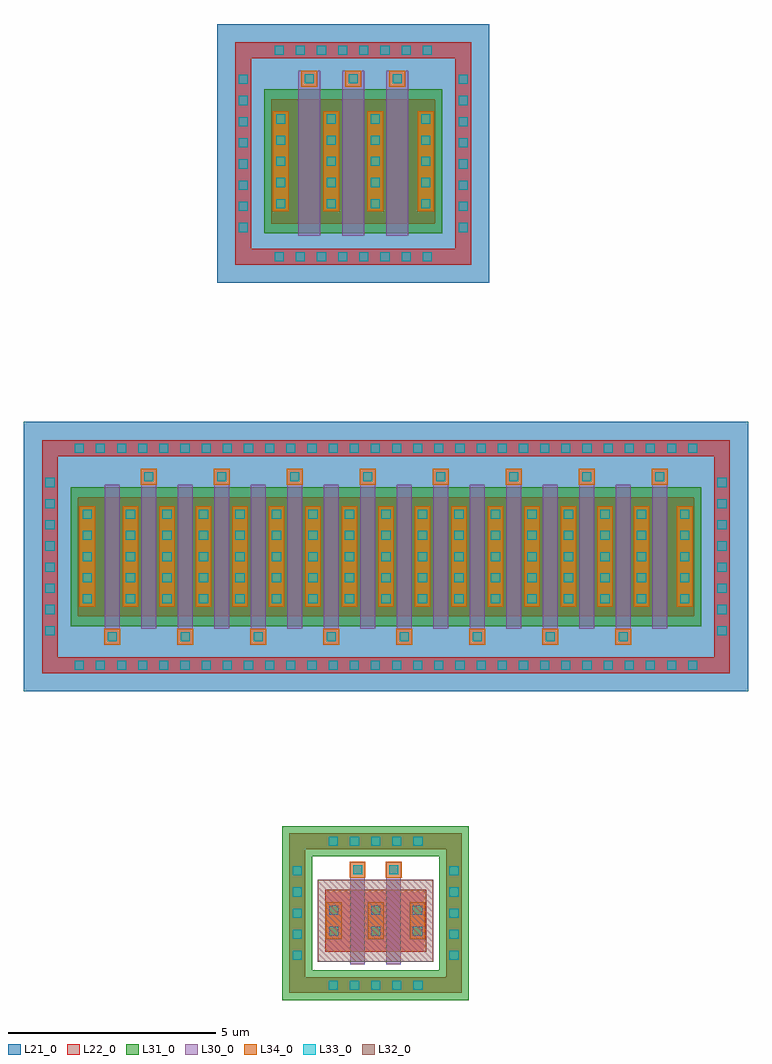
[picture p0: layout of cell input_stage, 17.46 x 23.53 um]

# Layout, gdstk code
import gdstk
lib = gdstk.Library(unit=1e-6, precision=5e-09)
def R(c, l, rs):  # rectangles x0, y0, x1, y1
    for r in rs: c.add(gdstk.rectangle(r[:2], r[2:], *l))
def A(c, l, x, y, w, h, nx, ny, dx, dy):  # array of equal rectangles
    R(c, l, [(x+i*dx, y+j*dy, x+i*dx+w, y+j*dy+h) for i in range(nx) for j in range(ny)])
def P(c, l, *ps):  # polygons
    for p in ps: c.add(gdstk.Polygon(p, *l))
L21_0 = (21, 0)
L22_0 = (22, 0)
L30_0 = (30, 0)
L31_0 = (31, 0)
L32_0 = (32, 0)
L33_0 = (33, 0)
L34_0 = (34, 0)

nfet = lib.new_cell('nfet')
R(nfet, L22_0, [(-0.42,0,0,1.5), (0,0,1.6,1.5), (1.6,0,2.02,1.5)])
P(nfet, L22_0, [(-1.28,-0.99),(-1.28,2.48),(-0.9,2.48),(-0.9,-0.61),(2.5,-0.61),(2.5,2.48),(-1.28,2.48),(-1.28,2.86),(2.88,2.86),(2.88,-0.99)])
R(nfet, L30_0, [(0.19,-0.3,0.54,1.8), (1.06,-0.3,1.41,1.8), (0.185,1.8,0.545,2.16), (1.055,1.8,1.415,2.16)])
P(nfet, L31_0, [(-1.45,-1.16),(-1.45,2.31),(-0.73,2.31),(-0.73,-0.44),(2.33,-0.44),(2.33,2.31),(-1.45,2.31),(-1.45,3.03),(3.05,3.03),(3.05,-1.16)])
R(nfet, L32_0, [(-0.59,-0.24,2.19,1.74)])
A(nfet, L33_0, -0.33, -0.91, 0.22, 0.22, 5, 2, 0.51, 3.47)
A(nfet, L33_0, -1.2, -0.195, 0.22, 0.22, 1, 5, 0, 0.51)
A(nfet, L33_0, 2.58, -0.195, 0.22, 0.22, 1, 5, 0, 0.51)
A(nfet, L33_0, -0.32, 0.385, 0.22, 0.22, 3, 2, 1.01, 0.51)
R(nfet, L33_0, [(0.255,1.87,0.475,2.09), (1.125,1.87,1.345,2.09)])
A(nfet, L34_0, -0.4, 0.305, 0.38, 0.89, 3, 1, 1.01, 0)
R(nfet, L34_0, [(0.175,1.79,0.555,2.17), (1.045,1.79,1.425,2.17)])

pfet_1 = lib.new_cell('pfet$1')
R(pfet_1, L21_0, [(-1.76,-1.81,15.7,4.685)])
R(pfet_1, L22_0, [(-0.46,0,0,2.875), (0,0,13.94,2.875), (13.94,0,14.4,2.875)])
P(pfet_1, L22_0, [(-1.32,-1.37),(-1.32,3.865),(-0.94,3.865),(-0.94,-0.99),(14.88,-0.99),(14.88,3.865),(-1.32,3.865),(-1.32,4.245),(15.26,4.245),(15.26,-1.37)])
A(pfet_1, L30_0, 0.18, -0.68, 0.38, 0.38, 8, 1, 1.76, 0)
A(pfet_1, L30_0, 0.19, -0.3, 0.36, 3.475, 16, 1, 0.88, 0)
A(pfet_1, L30_0, 1.06, 3.175, 0.38, 0.38, 8, 1, 1.76, 0)
R(pfet_1, L31_0, [(-0.63,-0.24,14.57,3.115)])
A(pfet_1, L33_0, -0.535, -1.29, 0.22, 0.22, 30, 2, 0.51, 5.235)
A(pfet_1, L33_0, 0.26, -0.6, 0.22, 0.22, 8, 1, 1.76, 0)
A(pfet_1, L33_0, -1.24, -0.455, 0.22, 0.22, 1, 8, 0, 0.51)
A(pfet_1, L33_0, 14.96, -0.455, 0.22, 0.22, 1, 8, 0, 0.51)
A(pfet_1, L33_0, -0.34, 0.31, 0.22, 0.22, 1, 5, 0, 0.51)
A(pfet_1, L33_0, 0.7, 0.31, 0.22, 0.22, 15, 5, 0.88, 0.51)
A(pfet_1, L33_0, 14.06, 0.31, 0.22, 0.22, 1, 5, 0, 0.51)
A(pfet_1, L33_0, 1.14, 3.255, 0.22, 0.22, 8, 1, 1.76, 0)
A(pfet_1, L34_0, 0.18, -0.68, 0.38, 0.38, 8, 1, 1.76, 0)
A(pfet_1, L34_0, 0.62, 0.23, 0.38, 2.42, 15, 1, 0.88, 0)
A(pfet_1, L34_0, 1.06, 3.175, 0.38, 0.38, 8, 1, 1.76, 0)
R(pfet_1, L34_0, [(-0.42,0.23,-0.04,2.65), (13.98,0.23,14.36,2.65)])

pfet = lib.new_cell('pfet')
R(pfet, L21_0, [(-1.76,-1.43,4.8,4.81)])
R(pfet, L22_0, [(-0.46,0,0,3), (0,0,3.04,3), (3.04,0,3.5,3)])
P(pfet, L22_0, [(-1.32,-0.99),(-1.32,3.99),(-0.94,3.99),(-0.94,-0.61),(3.98,-0.61),(3.98,3.99),(-1.32,3.99),(-1.32,4.37),(4.36,4.37),(4.36,-0.99)])
A(pfet, L30_0, 0.19, -0.3, 0.54, 3.6, 3, 1, 1.06, 0)
A(pfet, L30_0, 0.19, 3.3, 0.54, 0.38, 3, 1, 1.06, 0)
R(pfet, L31_0, [(-0.63,-0.24,3.67,3.24)])
A(pfet, L33_0, -0.375, -0.91, 0.22, 0.22, 8, 2, 0.51, 4.98)
A(pfet, L33_0, -1.24, -0.205, 0.22, 0.22, 1, 8, 0, 0.51)
A(pfet, L33_0, 4.06, -0.205, 0.22, 0.22, 1, 8, 0, 0.51)
A(pfet, L33_0, -0.34, 0.37, 0.22, 0.22, 1, 5, 0, 0.51)
A(pfet, L33_0, 0.88, 0.37, 0.22, 0.22, 1, 5, 0, 0.51)
A(pfet, L33_0, 1.94, 0.37, 0.22, 0.22, 1, 5, 0, 0.51)
A(pfet, L33_0, 3.16, 0.37, 0.22, 0.22, 1, 5, 0, 0.51)
A(pfet, L33_0, 0.35, 3.38, 0.22, 0.22, 3, 1, 1.06, 0)
A(pfet, L34_0, 0.27, 3.3, 0.38, 0.38, 3, 1, 1.06, 0)
R(pfet, L34_0, [(-0.42,0.29,-0.04,2.71), (0.8,0.29,1.18,2.71), (1.86,0.29,2.24,2.71), (3.08,0.29,3.46,2.71)])

input_stage = lib.new_cell('input_stage')
input_stage.add(gdstk.Reference(nfet, (6.51,4.86)))
input_stage.add(gdstk.Reference(pfet_1, (0.59,12.95)))
input_stage.add(gdstk.Reference(pfet, (5.25,22.42)))

lib.write_gds('input_stage.gds')
